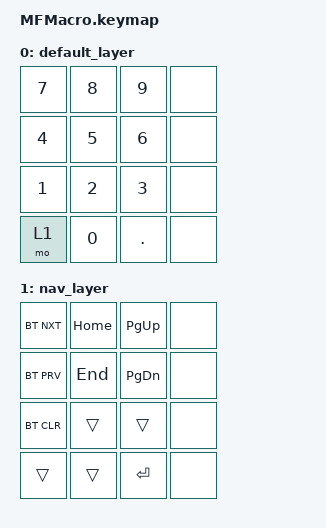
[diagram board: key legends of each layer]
/*
 * Copyright (c) 2020 The ZMK Contributors
 *
 * SPDX-License-Identifier: MIT
 */

#include <dt-bindings/zmk/bt.h>
#include <dt-bindings/zmk/keys.h>



/ {
    chosen {
        zmk,kscan = &kscan0;
    };
    keymap {
        compatible = "zmk,keymap";

        default_layer {
// -------------------
// | 7      |  8  |  9  |     |
// | 4      |  5  |  6  |     |
// | 1      |  2  |  3  |     |
// | MO(1)  |  0  |  .  |     |
// ----------------------
            bindings = <
    &kp N7 &kp N8 &kp N9 &none
    &kp N4 &kp N5 &kp N6 &none
    &kp N1 &kp N2 &kp N3 &none
    &mo 1  &kp N0 &kp DOT &none
            >;
        };

        nav_layer {
// -----------------------
// | BTNXT |  HOME  |  PGUP  |     |
// | BTPRV |  END   |  PGDN  |     |
// | BTCLR |  _     |  _     |     |
// | _     |  _     |  RET   |     |
// -----------------------
            bindings = <
    &bt BT_NXT &kp HOME &kp PG_UP &none
    &bt BT_PRV &kp END  &kp PG_DN &none
    &bt BT_CLR &trans   &trans &none
    &trans     &trans   &kp RET &none
            >;
        };
    };

    kscan0: kscan_0 {
        compatible = "zmk,kscan-gpio-matrix";
        diode-direction = "col2row";
        wakeup-source;

        col-gpios
            = <&pro_micro 2 GPIO_ACTIVE_HIGH>
            , <&pro_micro 3 GPIO_ACTIVE_HIGH>
            , <&pro_micro 4 GPIO_ACTIVE_HIGH>
            , <&pro_micro 5 GPIO_ACTIVE_HIGH>
            ;
        
        row-gpios
            = <&pro_micro 21 (GPIO_ACTIVE_HIGH | GPIO_PULL_DOWN)>
            , <&pro_micro 20 (GPIO_ACTIVE_HIGH | GPIO_PULL_DOWN)>
            , <&pro_micro 19 (GPIO_ACTIVE_HIGH | GPIO_PULL_DOWN)>
            , <&pro_micro 18 (GPIO_ACTIVE_HIGH | GPIO_PULL_DOWN)>
            ;
    }
};
